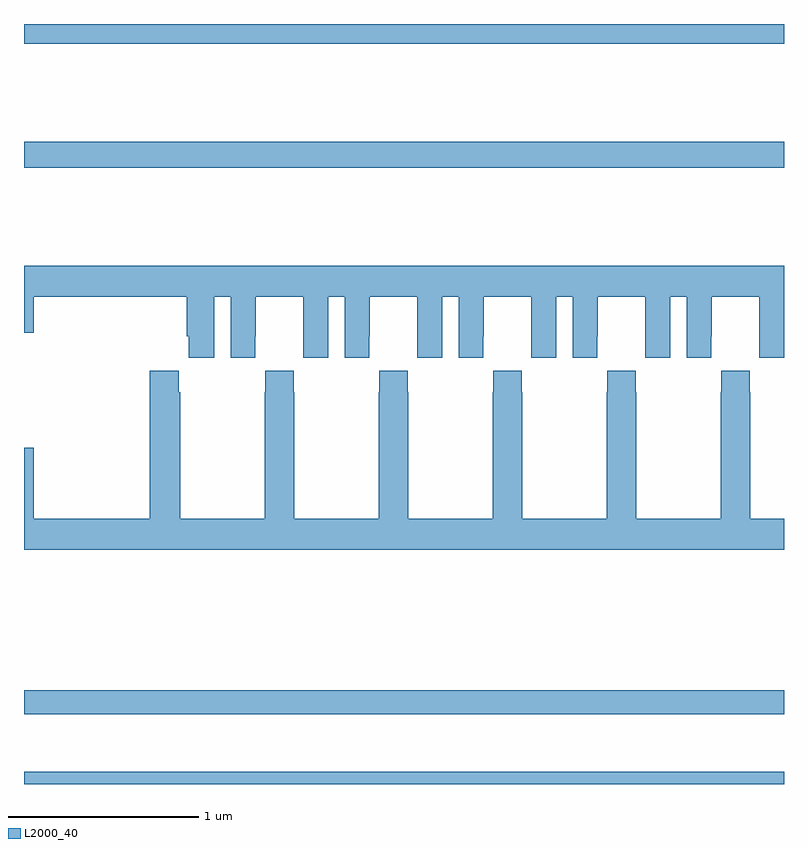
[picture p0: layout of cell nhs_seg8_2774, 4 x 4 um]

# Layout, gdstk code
import gdstk
lib = gdstk.Library(unit=1e-6, precision=1e-09)
def R(c, l, rs):  # rectangles x0, y0, x1, y1
    for r in rs: c.add(gdstk.rectangle(r[:2], r[2:], *l))
def P(c, l, *ps):  # polygons
    for p in ps: c.add(gdstk.Polygon(p, *l))
L2000_40 = (2000, 40)

nhs_seg8_2774 = lib.new_cell('nhs_seg8_2774')
R(nhs_seg8_2774, L2000_40, [(285,1149.9,289,1149.964), (285,1150.266,289,1150.394), (285,1153.144,289,1153.28), (285,1153.796,289,1153.9)])
P(nhs_seg8_2774, L2000_40, [(285,1152.276),(285.052,1152.276),(285.052,1152.464),(285.857,1152.464),(285.857,1152.256),(285.866,1152.256),(285.866,1152.144),(286,1152.144),(286,1152.464),(286.088,1152.464),(286.088,1152.144),(286.218,1152.144),(286.218,1152.256),(286.219,1152.256),(286.219,1152.464),(286.469,1152.464),(286.469,1152.256),(286.47,1152.256),(286.47,1152.144),(286.6,1152.144),(286.6,1152.464),(286.688,1152.464),(286.688,1152.144),(286.818,1152.144),(286.818,1152.256),(286.819,1152.256),(286.819,1152.464),(287.069,1152.464),(287.069,1152.256),(287.07,1152.256),(287.07,1152.144),(287.2,1152.144),(287.2,1152.464),(287.288,1152.464),(287.288,1152.144),(287.418,1152.144),(287.418,1152.256),(287.419,1152.256),(287.419,1152.464),(287.669,1152.464),(287.669,1152.256),(287.67,1152.256),(287.67,1152.144),(287.8,1152.144),(287.8,1152.464),(287.888,1152.464),(287.888,1152.144),(288.018,1152.144),(288.018,1152.256),(288.019,1152.256),(288.019,1152.464),(288.269,1152.464),(288.269,1152.256),(288.27,1152.256),(288.27,1152.144),(288.4,1152.144),(288.4,1152.464),(288.488,1152.464),(288.488,1152.144),(288.618,1152.144),(288.618,1152.256),(288.619,1152.256),(288.619,1152.464),(288.869,1152.464),(288.869,1152.256),(288.87,1152.256),(288.87,1152.144),(289,1152.144),(289,1152.628),(285,1152.628)],
  [(286.269,1152.076),(286.269,1151.963),(286.267,1151.963),(286.267,1151.296),(285.822,1151.296),(285.822,1151.963),(285.815,1151.963),(285.815,1152.076),(285.662,1152.076),(285.662,1151.296),(285.052,1151.296),(285.052,1151.671),(285,1151.671),(285,1151.132),(289,1151.132),(289,1151.296),(288.822,1151.296),(288.822,1151.963),(288.819,1151.963),(288.819,1152.076),(288.669,1152.076),(288.669,1151.963),(288.667,1151.963),(288.667,1151.296),(288.222,1151.296),(288.222,1151.963),(288.219,1151.963),(288.219,1152.076),(288.069,1152.076),(288.069,1151.963),(288.067,1151.963),(288.067,1151.296),(287.622,1151.296),(287.622,1151.963),(287.619,1151.963),(287.619,1152.076),(287.469,1152.076),(287.469,1151.963),(287.467,1151.963),(287.467,1151.296),(287.022,1151.296),(287.022,1151.963),(287.019,1151.963),(287.019,1152.076),(286.869,1152.076),(286.869,1151.963),(286.867,1151.963),(286.867,1151.296),(286.422,1151.296),(286.422,1151.963),(286.419,1151.963),(286.419,1152.076)])

lib.write_gds('nhs_seg8_2774.gds')
